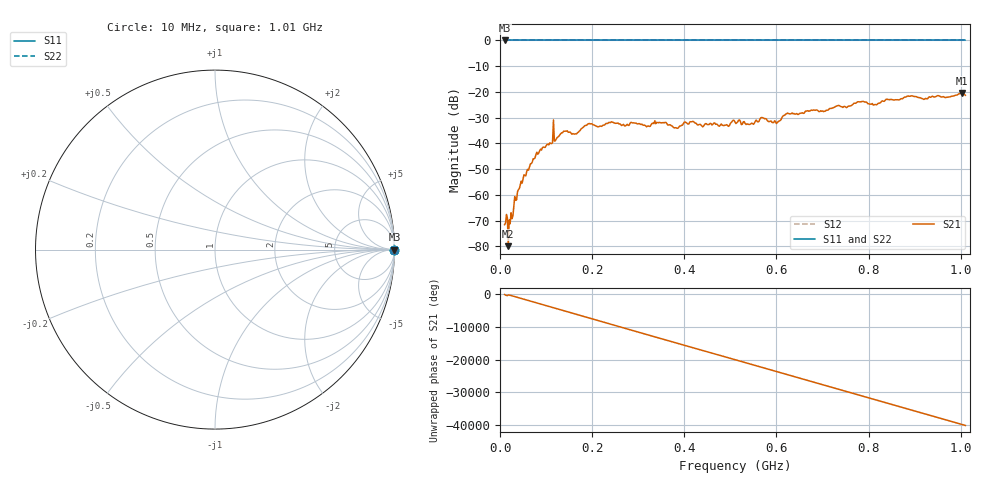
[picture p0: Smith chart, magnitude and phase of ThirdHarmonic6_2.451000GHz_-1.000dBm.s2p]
! 8/17/2025 4:22:53 AM
! C:\ANRITSUVNA\TEMP\TEMP.S2P
! CHANNEL.1
! TR.MEASUREMENT
! RAW.DATA
! RF.CORRECTION.OFF
! AVERAGING.OFF
! IF.BANDWIDTH: 5KHZ
! SWEEPTYPE:  FREQ.SWEEP(Linear)
! Reference Plane Port Info
! PORT:  PORT1  PORT2
! DISTANCE:  0  m  0  m
! TIME:  0  s  0  s
! PHASE.OFFSET:  0  deg.  0  deg.
! LOSS:  0  dB  0  dB
! REF.LOSS:  0  dB  0  dB
! REF.FREQ:  0  Hz  0  Hz
! Power Info
! POWER:  -20  dBm  -20  dBm
! EFF.POWER:  -20  dBm  -20  dBm
! SOURCE.ATTEN:  0  dB  0  dB
! TEST.ATTEN:  0  dB  0  dB
# GHZ S RI R 50.0
! FREQ.GHZ  S11RE  S11IM  S21RE  S21IM  S12RE  S12IM  S22RE  S22IM
!; PortSelection: Port_12
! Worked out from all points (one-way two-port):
!   501 points, 10 MHz to 1.01 GHz, reference 50 ohm
!   highest |S21| = -20.44 dB at 1.002 GHz (marker M1); lowest = -79.9 dB at 18 MHz (marker M2)
!   lowest |S11| = 0.0 dB at 10 MHz (marker M3)
!   |S11| at or under -10 dB: nowhere
!   |S22| runs from 0.0 to 0.0 dB; largest |S21 - S12| = 1.1
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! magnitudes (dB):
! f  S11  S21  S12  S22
! 10 MHz  0.0  -71.6  0.0  0.0
! 18 MHz  0.0  -79.9  0.0  0.0
! 22 MHz  0.0  -71.2  0.0  0.0
! 42 MHz  0.0  -57.5  0.0  0.0
! 76 MHz  0.0  -45.6  0.0  0.0
! 120 MHz  0.0  -38.9  0.0  0.0
! 122 MHz  0.0  -38.4  0.0  0.0
! 178 MHz  0.0  -34.1  0.0  0.0
! 194 MHz  0.0  -32.3  0.0  0.0
! 344 MHz  0.0  -31.9  0.0  0.0
! 382 MHz  0.0  -33.9  0.0  0.0
! 416 MHz  0.0  -31.6  0.0  0.0
! 440 MHz  0.0  -33.6  0.0  0.0
! 510 MHz  0.0  -31.6  0.0  0.0
! 546 MHz  0.0  -32.2  0.0  0.0
! 570 MHz  0.0  -30.0  0.0  0.0
! 602 MHz  0.0  -31.9  0.0  0.0
! 622 MHz  0.0  -28.5  0.0  0.0
! 678 MHz  0.0  -27.2  0.0  0.0
! 844 MHz  0.0  -23.0  0.0  0.0
! 1.002 GHz  0.0  -20.4  0.0  0.0
! 1.01 GHz  0.0  -21.3  0.0  0.0
